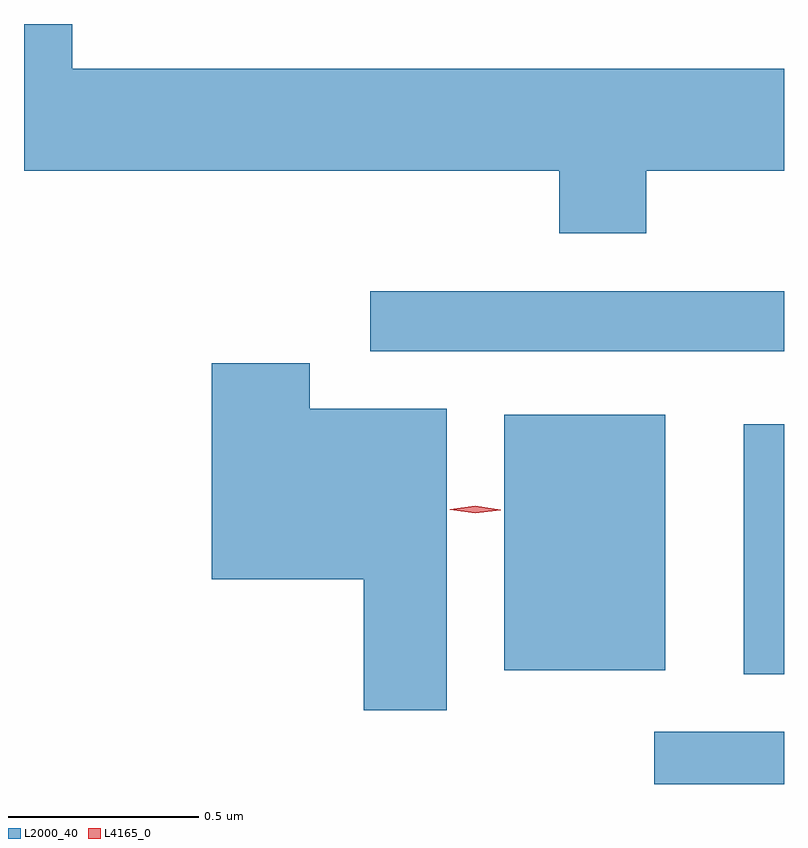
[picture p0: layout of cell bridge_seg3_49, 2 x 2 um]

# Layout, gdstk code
import gdstk
lib = gdstk.Library(unit=1e-6, precision=1e-09)
def R(c, l, rs):  # rectangles x0, y0, x1, y1
    for r in rs: c.add(gdstk.rectangle(r[:2], r[2:], *l))
def P(c, l, *ps):  # polygons
    for p in ps: c.add(gdstk.Polygon(p, *l))
L2000_40 = (2000, 40)
L4165_0 = (4165, 0)

bridge_seg3_49 = lib.new_cell('bridge_seg3_49')
R(bridge_seg3_49, L2000_40, [(1206.181,1164.362,1206.522,1164.499), (1206.416,1164.651,1206.522,1165.309), (1205.786,1164.661,1206.209,1165.334), (1205.433,1165.501,1206.522,1165.659)])
P(bridge_seg3_49, L2000_40, [(1206.159,1165.976),(1206.522,1165.976),(1206.522,1166.244),(1204.649,1166.244),(1204.649,1166.362),(1204.522,1166.362),(1204.522,1165.976),(1205.931,1165.976),(1205.931,1165.811),(1206.159,1165.811)],
  [(1205.634,1165.349),(1205.274,1165.349),(1205.274,1165.469),(1205.016,1165.469),(1205.016,1164.901),(1205.416,1164.901),(1205.416,1164.556),(1205.634,1164.556)])
P(bridge_seg3_49, L4165_0, [(1205.71,1165.074),(1205.644,1165.084),(1205.643,1165.084),(1205.644,1165.085),(1205.71,1165.094),(1205.776,1165.084),(1205.776,1165.084),(1205.776,1165.083)])

lib.write_gds('bridge_seg3_49.gds')
